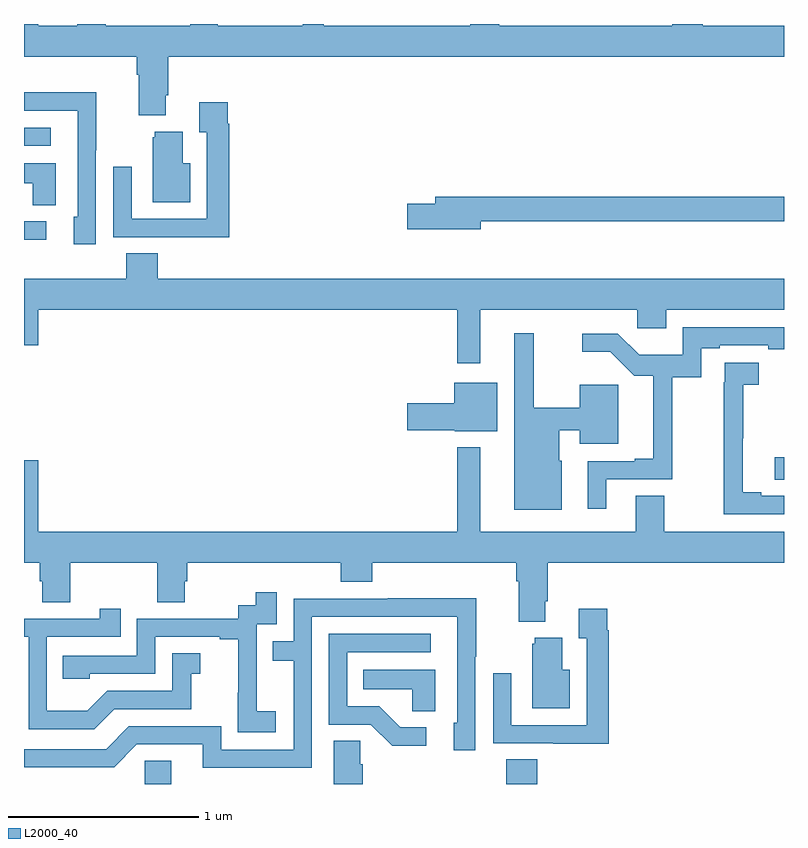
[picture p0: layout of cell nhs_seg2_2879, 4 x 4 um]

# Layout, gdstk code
import gdstk
lib = gdstk.Library(unit=1e-6, precision=1e-09)
def R(c, l, rs):  # rectangles x0, y0, x1, y1
    for r in rs: c.add(gdstk.rectangle(r[:2], r[2:], *l))
def P(c, l, *ps):  # polygons
    for p in ps: c.add(gdstk.Polygon(p, *l))
L2000_40 = (2000, 40)

nhs_seg2_2879 = lib.new_cell('nhs_seg2_2879')
R(nhs_seg2_2879, L2000_40, [(261.636,651.8,261.775,651.923), (263.537,651.8,263.702,651.929), (264.951,653.401,265,653.521), (261,654.665,261.118,654.762), (261,655.158,261.142,655.254)])
P(nhs_seg2_2879, L2000_40, [(261.745,655.426),(261.758,655.426),(261.758,655.628),(265,655.628),(265,655.792),(264.573,655.792),(264.573,655.8),(264.413,655.8),(264.413,655.792),(263.501,655.792),(263.501,655.8),(263.348,655.8),(263.348,655.792),(262.577,655.792),(262.577,655.8),(262.466,655.8),(262.466,655.792),(262.021,655.792),(262.021,655.8),(261.874,655.8),(261.874,655.792),(261.429,655.792),(261.429,655.8),(261.281,655.8),(261.281,655.792),(261.076,655.792),(261.076,655.8),(261,655.8),(261,655.628),(261.593,655.628),(261.593,655.532),(261.605,655.532),(261.605,655.319),(261.745,655.319)],
  [(261.378,655.135),(261.381,655.135),(261.381,655.442),(261,655.442),(261,655.344),(261.282,655.344),(261.282,654.786),(261.263,654.786),(261.263,654.642),(261.378,654.642)],
  [(262.079,655.274),(262.072,655.274),(262.072,655.387),(261.923,655.387),(261.923,655.231),(261.963,655.231),(261.963,654.774),(261.567,654.774),(261.567,655.048),(261.471,655.048),(261.471,654.678),(261.787,654.678),(261.787,654.677),(262.079,654.677)],
  [(261.874,655.066),(261.835,655.066),(261.835,655.234),(261.689,655.234),(261.689,655.203),(261.677,655.203),(261.677,654.863),(261.874,654.863)],
  [(261.166,655.066),(261,655.066),(261,654.962),(261.045,654.962),(261.045,654.847),(261.166,654.847)],
  [(263.404,654.762),(265,654.762),(265,654.89),(263.165,654.89),(263.165,654.854),(263.016,654.854),(263.016,654.719),(263.404,654.719)],
  [(263.401,654.296),(264.228,654.296),(264.228,654.198),(264.379,654.198),(264.379,654.296),(265,654.296),(265,654.46),(261.704,654.46),(261.704,654.593),(261.539,654.593),(261.539,654.46),(261,654.46),(261,654.108),(261.076,654.108),(261.076,654.296),(263.28,654.296),(263.28,654.015),(263.401,654.015)],
  [(264.064,653.403),(264.413,653.403),(264.413,653.941),(264.564,653.941),(264.564,654.094),(264.661,654.094),(264.661,654.108),(264.917,654.108),(264.917,654.088),(265,654.088),(265,654.204),(264.468,654.204),(264.468,654.058),(264.239,654.058),(264.126,654.171),(263.937,654.171),(263.937,654.074),(264.085,654.074),(264.211,653.949),(264.311,653.949),(264.311,653.512),(264.215,653.512),(264.215,653.499),(263.966,653.499),(263.966,653.25),(264.064,653.25)],
  [(263.83,653.502),(263.818,653.502),(263.818,653.663),(263.924,653.663),(263.924,653.591),(264.127,653.591),(264.127,653.901),(263.924,653.901),(263.924,653.78),(263.683,653.78),(263.683,654.172),(263.579,654.172),(263.579,653.243),(263.83,653.243)],
  [(265,653.316),(264.88,653.316),(264.88,653.336),(264.784,653.336),(264.784,653.619),(264.786,653.619),(264.786,653.902),(264.868,653.902),(264.868,654.017),(264.688,654.017),(264.688,653.915),(264.682,653.915),(264.682,653.22),(265,653.22)],
  [(263.491,653.911),(263.264,653.911),(263.264,653.805),(263.016,653.805),(263.016,653.663),(263.268,653.663),(263.268,653.657),(263.491,653.657)],
  [(263.743,652.762),(263.756,652.762),(263.756,652.964),(265,652.964),(265,653.128),(264.369,653.128),(264.369,653.318),(264.221,653.318),(264.221,653.128),(263.401,653.128),(263.401,653.572),(263.28,653.572),(263.28,653.128),(261.076,653.128),(261.076,653.503),(261,653.503),(261,652.964),(261.083,652.964),(261.083,652.866),(261.095,652.866),(261.095,652.756),(261.243,652.756),(261.243,652.964),(261.7,652.964),(261.7,652.756),(261.847,652.756),(261.847,652.866),(261.86,652.866),(261.86,652.964),(262.667,652.964),(262.667,652.865),(262.832,652.865),(262.832,652.964),(263.591,652.964),(263.591,652.868),(263.603,652.868),(263.603,652.655),(263.743,652.655)],
  [(262.324,652.183),(262.226,652.183),(262.226,652.412),(262.224,652.412),(262.224,652.641),(262.329,652.641),(262.329,652.81),(262.221,652.81),(262.221,652.74),(262.128,652.74),(262.128,652.671),(261.594,652.671),(261.594,652.476),(261.205,652.476),(261.205,652.353),(261.345,652.353),(261.345,652.38),(261.69,652.38),(261.69,652.575),(262.031,652.575),(262.031,652.563),(262.127,652.563),(262.127,652.279),(262.126,652.279),(262.126,652.073),(262.324,652.073)],
  [(262.515,652.68),(263.28,652.68),(263.28,652.122),(263.261,652.122),(263.261,651.978),(263.376,651.978),(263.376,652.471),(263.379,652.471),(263.379,652.778),(262.915,652.778),(262.915,652.776),(262.419,652.776),(262.419,652.551),(262.309,652.551),(262.309,652.45),(262.419,652.45),(262.419,651.981),(262.038,651.981),(262.038,652.104),(261.552,652.104),(261.432,651.984),(261,651.984),(261,651.888),(261.474,651.888),(261.594,652.008),(261.941,652.008),(261.941,651.885),(262.515,651.885)],
  [(264.077,652.61),(264.07,652.61),(264.07,652.723),(263.921,652.723),(263.921,652.567),(263.961,652.567),(263.961,652.11),(263.565,652.11),(263.565,652.384),(263.469,652.384),(263.469,652.014),(263.785,652.014),(263.785,652.013),(264.077,652.013)],
  [(261.475,652.194),(261.879,652.194),(261.879,652.379),(261.928,652.379),(261.928,652.489),(261.78,652.489),(261.78,652.29),(261.438,652.29),(261.334,652.186),(261.12,652.186),(261.12,652.575),(261.509,652.575),(261.509,652.723),(261.398,652.723),(261.398,652.671),(261,652.671),(261,652.575),(261.024,652.575),(261.024,652.089),(261.37,652.089)],
  [(263.116,652.098),(262.981,652.098),(262.87,652.209),(262.701,652.209),(262.701,652.494),(263.14,652.494),(263.14,652.59),(262.605,652.59),(262.605,652.113),(262.824,652.113),(262.937,652.001),(263.116,652.001)],
  [(263.872,652.402),(263.833,652.402),(263.833,652.57),(263.687,652.57),(263.687,652.539),(263.675,652.539),(263.675,652.199),(263.872,652.199)],
  [(263.164,652.402),(262.786,652.402),(262.786,652.298),(263.043,652.298),(263.043,652.183),(263.164,652.183)],
  [(262.784,651.905),(262.77,651.905),(262.77,652.028),(262.631,652.028),(262.631,651.8),(262.784,651.8)])

lib.write_gds('nhs_seg2_2879.gds')
